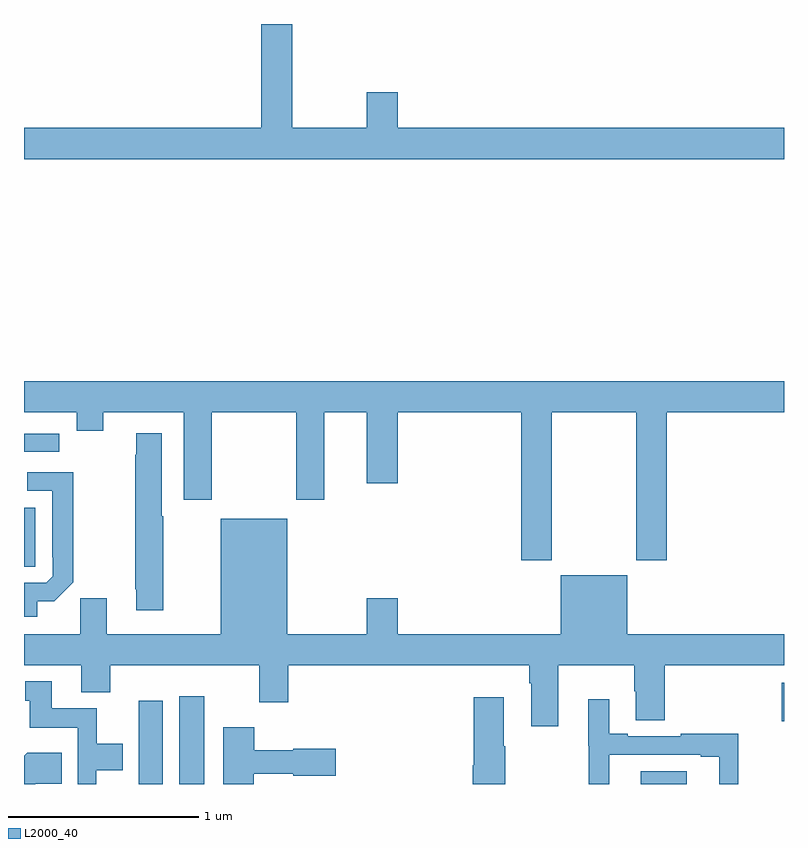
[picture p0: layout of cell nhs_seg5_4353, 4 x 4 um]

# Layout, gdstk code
import gdstk
lib = gdstk.Library(unit=1e-6, precision=1e-09)
def R(c, l, rs):  # rectangles x0, y0, x1, y1
    for r in rs: c.add(gdstk.rectangle(r[:2], r[2:], *l))
def P(c, l, *ps):  # polygons
    for p in ps: c.add(gdstk.Polygon(p, *l))
L2000_40 = (2000, 40)

nhs_seg5_4353 = lib.new_cell('nhs_seg5_4353')
R(nhs_seg5_4353, L2000_40, [(367.604,858.799,367.729,859.237), (367.817,858.799,367.948,859.261), (370.247,858.799,370.489,858.865), (370.987,859.129,371,859.332), (367,859.942,367.059,860.254), (367,860.547,367.186,860.643)])
P(nhs_seg5_4353, L2000_40, [(371,862.252),(368.968,862.252),(368.968,862.441),(368.804,862.441),(368.804,862.252),(368.413,862.252),(368.413,862.799),(368.249,862.799),(368.249,862.252),(367,862.252),(367,862.088),(371,862.088)],
  [(369.777,860.756),(370.222,860.756),(370.222,859.977),(370.382,859.977),(370.382,860.756),(371,860.756),(371,860.92),(367,860.92),(367,860.756),(367.277,860.756),(367.277,860.657),(367.417,860.657),(367.417,860.756),(367.841,860.756),(367.841,860.295),(367.989,860.295),(367.989,860.756),(368.434,860.756),(368.434,860.295),(368.581,860.295),(368.581,860.756),(368.804,860.756),(368.804,860.382),(368.968,860.382),(368.968,860.756),(369.617,860.756),(369.617,859.977),(369.777,859.977)],
  [(367.734,860.207),(367.726,860.207),(367.726,860.644),(367.592,860.644),(367.592,860.531),(367.585,860.531),(367.585,859.825),(367.592,859.825),(367.592,859.713),(367.734,859.713)],
  [(367.071,859.761),(367.16,859.761),(367.26,859.86),(367.26,860.051),(367.258,860.051),(367.258,860.439),(367.017,860.439),(367.017,860.343),(367.149,860.343),(367.149,859.993),(367.152,859.993),(367.152,859.893),(367.116,859.857),(367,859.857),(367,859.68),(367.071,859.68)],
  [(369.811,859.424),(370.213,859.424),(370.213,859.286),(370.22,859.286),(370.22,859.135),(370.373,859.135),(370.373,859.424),(371,859.424),(371,859.588),(370.174,859.588),(370.174,859.897),(369.824,859.897),(369.824,859.588),(368.968,859.588),(368.968,859.777),(368.804,859.777),(368.804,859.588),(368.386,859.588),(368.386,860.194),(368.036,860.194),(368.036,859.588),(367.435,859.588),(367.435,859.776),(367.297,859.776),(367.297,859.588),(367,859.588),(367,859.424),(367.301,859.424),(367.301,859.283),(367.454,859.283),(367.454,859.424),(368.237,859.424),(368.237,859.23),(368.39,859.23),(368.39,859.424),(369.659,859.424),(369.659,859.328),(369.671,859.328),(369.671,859.104),(369.811,859.104)],
  [(367.38,858.872),(367.519,858.872),(367.519,859.012),(367.383,859.012),(367.383,859.198),(367.147,859.198),(367.147,859.339),(367.007,859.339),(367.007,859.236),(367.031,859.236),(367.031,859.094),(367.284,859.094),(367.284,858.799),(367.38,858.799)],
  [(369.534,858.997),(369.526,858.997),(369.526,859.255),(369.368,859.255),(369.368,858.897),(369.362,858.897),(369.362,858.799),(369.534,858.799)],
  [(370.081,858.954),(370.562,858.954),(370.562,858.942),(370.658,858.942),(370.658,858.799),(370.758,858.799),(370.758,859.063),(370.456,859.063),(370.456,859.05),(370.177,859.05),(370.177,859.063),(370.081,859.063),(370.081,859.246),(369.971,859.246),(369.971,859.001),(369.972,859.001),(369.972,858.799),(370.081,858.799)],
  [(368.21,858.854),(368.418,858.854),(368.418,858.842),(368.641,858.842),(368.641,858.984),(368.418,858.984),(368.418,858.976),(368.212,858.976),(368.212,859.099),(368.048,859.099),(368.048,858.799),(368.21,858.799)],
  [(367.06,858.8),(367.199,858.8),(367.199,858.964),(367.016,858.964),(367,858.948),(367,858.799),(367.06,858.799)])

lib.write_gds('nhs_seg5_4353.gds')
